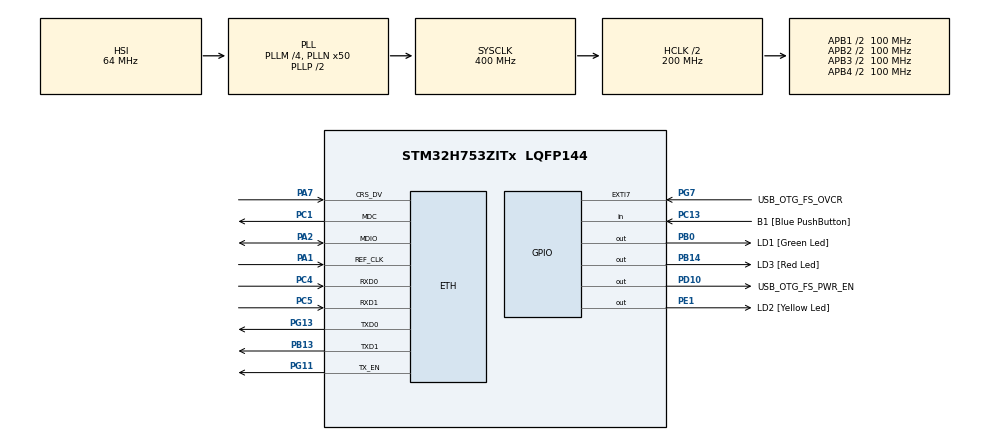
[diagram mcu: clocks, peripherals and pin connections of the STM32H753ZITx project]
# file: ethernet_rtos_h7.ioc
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CORTEX_M7.CPU_DCache=Disabled
CORTEX_M7.CPU_ICache=Disabled
CORTEX_M7.MPU_Control=__NULL
ETH.MediaInterface=HAL_ETH_RMII_MODE
FREERTOS.Tasks01=defaultTask,0,256,StartDefaultTask,Default,NULL,Dynamic,NULL,NULL;dhcp_task,0,256,dhcp_task_function,Default,NULL,Dynamic,NULL,NULL
FREERTOS.configMINIMAL_STACK_SIZE=256
FREERTOS.configUSE_NEWLIB_REENTRANT=1
LWIP.BSP.number=1
LWIP.TCP_MSS=1460
LWIP.TCP_QUEUE_OOSEQ=0
LWIP.TCP_SND_BUF=5840
LWIP.TCP_SND_QUEUELEN=16
LWIP.Version=v2.1.2_Cube
LWIP0.BSP.STBoard=false
LWIP0.BSP.api=BSP_COMPONENT_DRIVER
LWIP0.BSP.component=LAN8742
LWIP0.BSP.instance=LAN8742
LWIP0.BSP.name=Driver_PHY
LWIP0.BSP.semaphore=S_LAN8742
LWIP0.BSP.solution=LAN8742
Mcu.Family=STM32H7
Mcu.Name=STM32H753ZITx
Mcu.Package=LQFP144
NVIC.ETH_IRQn=true\:5\:0\:false\:false\:true\:true\:true\:true\:true
NVIC.PriorityGroup=NVIC_PRIORITYGROUP_4
NVIC.TIM17_IRQn=true\:15\:0\:false\:false\:true\:false\:false\:true\:true
NVIC.TimeBase=TIM17_IRQn
NVIC.TimeBaseIP=TIM17
PA1.GPIO_Speed=GPIO_SPEED_FREQ_VERY_HIGH
PA1.Mode=RMII
PA1.Signal=ETH_REF_CLK
PA11.Signal=USB_OTG_FS_DM
PA12.Signal=USB_OTG_FS_DP
PA2.GPIO_Speed=GPIO_SPEED_FREQ_VERY_HIGH
PA2.Mode=RMII
PA2.Signal=ETH_MDIO
PA7.GPIO_Speed=GPIO_SPEED_FREQ_VERY_HIGH
PA7.Mode=RMII
PA7.Signal=ETH_CRS_DV
PA8.Signal=USB_OTG_FS_SOF
PA9.Signal=USB_OTG_FS_VBUS
PB0.GPIO_Label=LD1 [Green Led]
PB0.Signal=GPIO_Output
PB13.GPIO_Speed=GPIO_SPEED_FREQ_VERY_HIGH
PB13.Mode=RMII
PB13.Signal=ETH_TXD1
PB14.GPIO_Label=LD3 [Red Led]
PB14.Signal=GPIO_Output
PC1.GPIO_Speed=GPIO_SPEED_FREQ_VERY_HIGH
PC1.Mode=RMII
PC1.Signal=ETH_MDC
PC13.GPIO_Label=B1 [Blue PushButton]
PC13.Signal=GPIO_Input
PC14-OSC32_IN\ (OSC32_IN).Signal=RCC_OSC32_IN
PC15-OSC32_OUT\ (OSC32_OUT).Signal=RCC_OSC32_OUT
PC4.GPIO_Speed=GPIO_SPEED_FREQ_VERY_HIGH
PC4.Mode=RMII
PC4.Signal=ETH_RXD0
PC5.GPIO_Speed=GPIO_SPEED_FREQ_VERY_HIGH
PC5.Mode=RMII
PC5.Signal=ETH_RXD1
PD10.GPIO_Label=USB_OTG_FS_PWR_EN
PD10.Signal=GPIO_Output
PD8.GPIO_Label=STLINK_RX
PD8.Signal=USART3_TX
PD9.GPIO_Label=STLINK_TX
PD9.Signal=USART3_RX
PE1.GPIO_Label=LD2 [Yellow Led]
PE1.Signal=GPIO_Output
PG11.GPIO_Speed=GPIO_SPEED_FREQ_VERY_HIGH
PG11.Mode=RMII
PG11.Signal=ETH_TX_EN
PG13.GPIO_Speed=GPIO_SPEED_FREQ_VERY_HIGH
PG13.Mode=RMII
PG13.Signal=ETH_TXD0
PG7.GPIO_Label=USB_OTG_FS_OVCR
PG7.Signal=GPXTI7
PH0-OSC_IN\ (PH0).Signal=RCC_OSC_IN
PH1-OSC_OUT\ (PH1).Signal=RCC_OSC_OUT
ProjectManager.HeapSize=0x200
ProjectManager.StackSize=0x400
ProjectManager.TargetToolchain=STM32CubeIDE
RCC.ADCFreq_Value=129000000
RCC.APB1Freq_Value=100000000
RCC.APB2Freq_Value=100000000
RCC.APB3Freq_Value=100000000
RCC.APB4Freq_Value=100000000
RCC.CortexFreq_Value=400000000
RCC.D1PPRE=RCC_APB3_DIV2
RCC.D2PPRE1=RCC_APB1_DIV2
RCC.D2PPRE2=RCC_APB2_DIV2
RCC.D3PPRE=RCC_APB4_DIV2
RCC.DIVM1=4
RCC.DIVN1=50
RCC.DIVQ1=4
RCC.HCLKFreq_Value=200000000
RCC.HPRE=RCC_HCLK_DIV2
RCC.HSE_VALUE=8000000
RCC.PLL2FRACN=0
RCC.PLL3FRACN=0
RCC.PLLFRACN=0
RCC.PWR_Regulator_Voltage_Scale=PWR_REGULATOR_VOLTAGE_SCALE1
RCC.SYSCLKFreq_VALUE=400000000
RCC.SYSCLKSource=RCC_SYSCLKSOURCE_PLLCLK
RCC.USBFreq_Value=200000000
VP_FREERTOS_VS_CMSIS_V1.Mode=CMSIS_V1
VP_LWIP_VS_Enabled.Mode=Enabled
VP_MEMORYMAP_VS_MEMORYMAP.Mode=CurAppReg
VP_SYS_VS_tim17.Mode=TIM17
board=NUCLEO-H753ZI

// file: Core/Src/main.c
/* USER CODE BEGIN Header */
/**
  ******************************************************************************
  * @file           : main.c
  * @brief          : Main program body
  ******************************************************************************
  * @attention
  *
  * Copyright (c) 2024 STMicroelectronics.
  * All rights reserved.
  *
  * This software is licensed under terms that can be found in the LICENSE file
  * in the root directory of this software component.
  * If no LICENSE file comes with this software, it is provided AS-IS.
  *
  ******************************************************************************
  */
/* USER CODE END Header */
#include "main.h"
#include "cmsis_os.h"
#include "lwip.h"

/* USER CODE BEGIN Includes */
#include "lwip/netifapi.h"
#include "lwip/dhcp.h"
/* USER CODE END Includes */

osThreadId defaultTaskHandle;
osThreadId dhcp_taskHandle;
/* USER CODE BEGIN PV */
extern struct netif gnetif;
/* USER CODE END PV */

void SystemClock_Config(void);
static void MX_GPIO_Init(void);
void StartDefaultTask(void const * argument);
void dhcp_task_function(void const * argument);

int main(void)
{

  /* MCU Configuration--------------------------------------------------------*/

  /* Reset of all peripherals, Initializes the Flash interface and the Systick. */
  HAL_Init();

  /* Configure the system clock */
  SystemClock_Config();

  /* Initialize all configured peripherals */
  MX_GPIO_Init();

  /* Create the thread(s) */
  /* definition and creation of defaultTask */
  osThreadDef(defaultTask, StartDefaultTask, osPriorityNormal, 0, 256);
  defaultTaskHandle = osThreadCreate(osThread(defaultTask), NULL);

  /* definition and creation of dhcp_task */
  osThreadDef(dhcp_task, dhcp_task_function, osPriorityNormal, 0, 256);
  dhcp_taskHandle = osThreadCreate(osThread(dhcp_task), &gnetif);

  /* Start scheduler */
  osKernelStart();

  /* We should never get here as control is now taken by the scheduler */

  /* Infinite loop */
  while (1)
  {

  }
}

void SystemClock_Config(void)
{
  RCC_OscInitTypeDef RCC_OscInitStruct = {0};
  RCC_ClkInitTypeDef RCC_ClkInitStruct = {0};

  /** Supply configuration update enable
  */
  HAL_PWREx_ConfigSupply(PWR_LDO_SUPPLY);

  /** Configure the main internal regulator output voltage
  */
  __HAL_PWR_VOLTAGESCALING_CONFIG(PWR_REGULATOR_VOLTAGE_SCALE1);

  while(!__HAL_PWR_GET_FLAG(PWR_FLAG_VOSRDY)) {}

  /** Initializes the RCC Oscillators according to the specified parameters
  * in the RCC_OscInitTypeDef structure.
  */
  RCC_OscInitStruct.OscillatorType = RCC_OSCILLATORTYPE_HSI;
  RCC_OscInitStruct.HSIState = RCC_HSI_DIV1;
  RCC_OscInitStruct.HSICalibrationValue = RCC_HSICALIBRATION_DEFAULT;
  RCC_OscInitStruct.PLL.PLLState = RCC_PLL_ON;
  RCC_OscInitStruct.PLL.PLLSource = RCC_PLLSOURCE_HSI;
  RCC_OscInitStruct.PLL.PLLM = 4;
  RCC_OscInitStruct.PLL.PLLN = 50;
  RCC_OscInitStruct.PLL.PLLP = 2;
  RCC_OscInitStruct.PLL.PLLQ = 4;
  RCC_OscInitStruct.PLL.PLLR = 2;
  RCC_OscInitStruct.PLL.PLLRGE = RCC_PLL1VCIRANGE_3;
  RCC_OscInitStruct.PLL.PLLVCOSEL = RCC_PLL1VCOWIDE;
  RCC_OscInitStruct.PLL.PLLFRACN = 0;
  if (HAL_RCC_OscConfig(&RCC_OscInitStruct) != HAL_OK)
  {
    Error_Handler();
  }

  /** Initializes the CPU, AHB and APB buses clocks
  */
  RCC_ClkInitStruct.ClockType = RCC_CLOCKTYPE_HCLK|RCC_CLOCKTYPE_SYSCLK
                              |RCC_CLOCKTYPE_PCLK1|RCC_CLOCKTYPE_PCLK2
                              |RCC_CLOCKTYPE_D3PCLK1|RCC_CLOCKTYPE_D1PCLK1;
  RCC_ClkInitStruct.SYSCLKSource = RCC_SYSCLKSOURCE_PLLCLK;
  RCC_ClkInitStruct.SYSCLKDivider = RCC_SYSCLK_DIV1;
  RCC_ClkInitStruct.AHBCLKDivider = RCC_HCLK_DIV2;
  RCC_ClkInitStruct.APB3CLKDivider = RCC_APB3_DIV2;
  RCC_ClkInitStruct.APB1CLKDivider = RCC_APB1_DIV2;
  RCC_ClkInitStruct.APB2CLKDivider = RCC_APB2_DIV2;
  RCC_ClkInitStruct.APB4CLKDivider = RCC_APB4_DIV2;

  if (HAL_RCC_ClockConfig(&RCC_ClkInitStruct, FLASH_LATENCY_2) != HAL_OK)
  {
    Error_Handler();
  }
}

static void MX_GPIO_Init(void)
{
  GPIO_InitTypeDef GPIO_InitStruct = {0};

  /* GPIO Ports Clock Enable */
  __HAL_RCC_GPIOC_CLK_ENABLE();
  __HAL_RCC_GPIOH_CLK_ENABLE();
  __HAL_RCC_GPIOA_CLK_ENABLE();
  __HAL_RCC_GPIOB_CLK_ENABLE();
  __HAL_RCC_GPIOD_CLK_ENABLE();
  __HAL_RCC_GPIOG_CLK_ENABLE();
  __HAL_RCC_GPIOE_CLK_ENABLE();

  /*Configure GPIO pin Output Level */
  HAL_GPIO_WritePin(GPIOB, LD1_Pin|LD3_Pin, GPIO_PIN_RESET);

  /*Configure GPIO pin Output Level */
  HAL_GPIO_WritePin(USB_OTG_FS_PWR_EN_GPIO_Port, USB_OTG_FS_PWR_EN_Pin, GPIO_PIN_RESET);

  /*Configure GPIO pin Output Level */
  HAL_GPIO_WritePin(LD2_GPIO_Port, LD2_Pin, GPIO_PIN_RESET);

  /*Configure GPIO pin : B1_Pin */
  GPIO_InitStruct.Pin = B1_Pin;
  GPIO_InitStruct.Mode = GPIO_MODE_INPUT;
  GPIO_InitStruct.Pull = GPIO_NOPULL;
  HAL_GPIO_Init(B1_GPIO_Port, &GPIO_InitStruct);

  /*Configure GPIO pins : LD1_Pin LD3_Pin */
  GPIO_InitStruct.Pin = LD1_Pin|LD3_Pin;
  GPIO_InitStruct.Mode = GPIO_MODE_OUTPUT_PP;
  GPIO_InitStruct.Pull = GPIO_NOPULL;
  GPIO_InitStruct.Speed = GPIO_SPEED_FREQ_LOW;
  HAL_GPIO_Init(GPIOB, &GPIO_InitStruct);

  /*Configure GPIO pins : STLINK_RX_Pin STLINK_TX_Pin */
  GPIO_InitStruct.Pin = STLINK_RX_Pin|STLINK_TX_Pin;
  GPIO_InitStruct.Mode = GPIO_MODE_AF_PP;
  GPIO_InitStruct.Pull = GPIO_NOPULL;
  GPIO_InitStruct.Speed = GPIO_SPEED_FREQ_LOW;
  GPIO_InitStruct.Alternate = GPIO_AF7_USART3;
  HAL_GPIO_Init(GPIOD, &GPIO_InitStruct);

  /*Configure GPIO pin : USB_OTG_FS_PWR_EN_Pin */
  GPIO_InitStruct.Pin = USB_OTG_FS_PWR_EN_Pin;
  GPIO_InitStruct.Mode = GPIO_MODE_OUTPUT_PP;
  GPIO_InitStruct.Pull = GPIO_NOPULL;
  GPIO_InitStruct.Speed = GPIO_SPEED_FREQ_LOW;
  HAL_GPIO_Init(USB_OTG_FS_PWR_EN_GPIO_Port, &GPIO_InitStruct);

  /*Configure GPIO pin : USB_OTG_FS_OVCR_Pin */
  GPIO_InitStruct.Pin = USB_OTG_FS_OVCR_Pin;
  GPIO_InitStruct.Mode = GPIO_MODE_IT_RISING;
  GPIO_InitStruct.Pull = GPIO_NOPULL;
  HAL_GPIO_Init(USB_OTG_FS_OVCR_GPIO_Port, &GPIO_InitStruct);

  /*Configure GPIO pins : PA8 PA11 PA12 */
  GPIO_InitStruct.Pin = GPIO_PIN_8|GPIO_PIN_11|GPIO_PIN_12;
  GPIO_InitStruct.Mode = GPIO_MODE_AF_PP;
  GPIO_InitStruct.Pull = GPIO_NOPULL;
  GPIO_InitStruct.Speed = GPIO_SPEED_FREQ_LOW;
  GPIO_InitStruct.Alternate = GPIO_AF10_OTG1_FS;
  HAL_GPIO_Init(GPIOA, &GPIO_InitStruct);

  /*Configure GPIO pin : LD2_Pin */
  GPIO_InitStruct.Pin = LD2_Pin;
  GPIO_InitStruct.Mode = GPIO_MODE_OUTPUT_PP;
  GPIO_InitStruct.Pull = GPIO_NOPULL;
  GPIO_InitStruct.Speed = GPIO_SPEED_FREQ_LOW;
  HAL_GPIO_Init(LD2_GPIO_Port, &GPIO_InitStruct);

}

/* USER CODE BEGIN 4 */
#define DHCP_OFF                   (uint8_t) 0
#define DHCP_START                 (uint8_t) 1
#define DHCP_WAIT_ADDRESS          (uint8_t) 2
#define DHCP_ADDRESS_ASSIGNED      (uint8_t) 3
#define DHCP_TIMEOUT               (uint8_t) 4
#define DHCP_LINK_DOWN             (uint8_t) 5
#define MAX_DHCP_TRIES 3
__IO uint8_t DHCP_state = DHCP_OFF;

/* USER CODE END 4 */

void StartDefaultTask(void const * argument)
{
  /* init code for LWIP */
  MX_LWIP_Init();
  for(;;)
  {
    osDelay(1);
  }
}

void dhcp_task_function(void const * argument)
{
  /* USER CODE BEGIN dhcp_task_function */
 struct netif *netif = (struct netif *) argument;
  ip_addr_t ipaddr;
  ip_addr_t netmask;
  ip_addr_t gw;
  struct dhcp *dhcp;

  for (;;)
  {
    switch (DHCP_state)
    {
    case DHCP_START:
      {
        ip_addr_set_zero_ip4(&netif->ip_addr);
        ip_addr_set_zero_ip4(&netif->netmask);
        ip_addr_set_zero_ip4(&netif->gw);
        DHCP_state = DHCP_WAIT_ADDRESS;

        netifapi_dhcp_start(netif);
      }
      break;
    case DHCP_WAIT_ADDRESS:
      {
        if (dhcp_supplied_address(netif))
        {
          DHCP_state = DHCP_ADDRESS_ASSIGNED;
        }
        else
        {
          dhcp = (struct dhcp *)netif_get_client_data(netif, LWIP_NETIF_CLIENT_DATA_INDEX_DHCP);

          /* DHCP timeout */
          if (dhcp->tries > MAX_DHCP_TRIES)
          {
            DHCP_state = DHCP_TIMEOUT;

            /* Static address used */
            IP_ADDR4(&ipaddr, 192 ,168 , 1 , 4 );
            IP_ADDR4(&netmask, 255, 255, 255, 0);
            IP_ADDR4(&gw, 0, 0, 0, 0);
            netifapi_netif_set_addr(netif, ip_2_ip4(&ipaddr), ip_2_ip4(&netmask), ip_2_ip4(&gw));
          }
        }
      }
      break;
  case DHCP_LINK_DOWN:
    {
      DHCP_state = DHCP_OFF;

    }
    break;
    default: break;
    }

    /* wait 500 ms */
    osDelay(500);
  }
  /* USER CODE END dhcp_task_function */
}

void HAL_TIM_PeriodElapsedCallback(TIM_HandleTypeDef *htim)
{
  if (htim->Instance == TIM17) {
    HAL_IncTick();
  }
}

void Error_Handler(void)
{
  __disable_irq();
  while (1)
  {
  }
}
